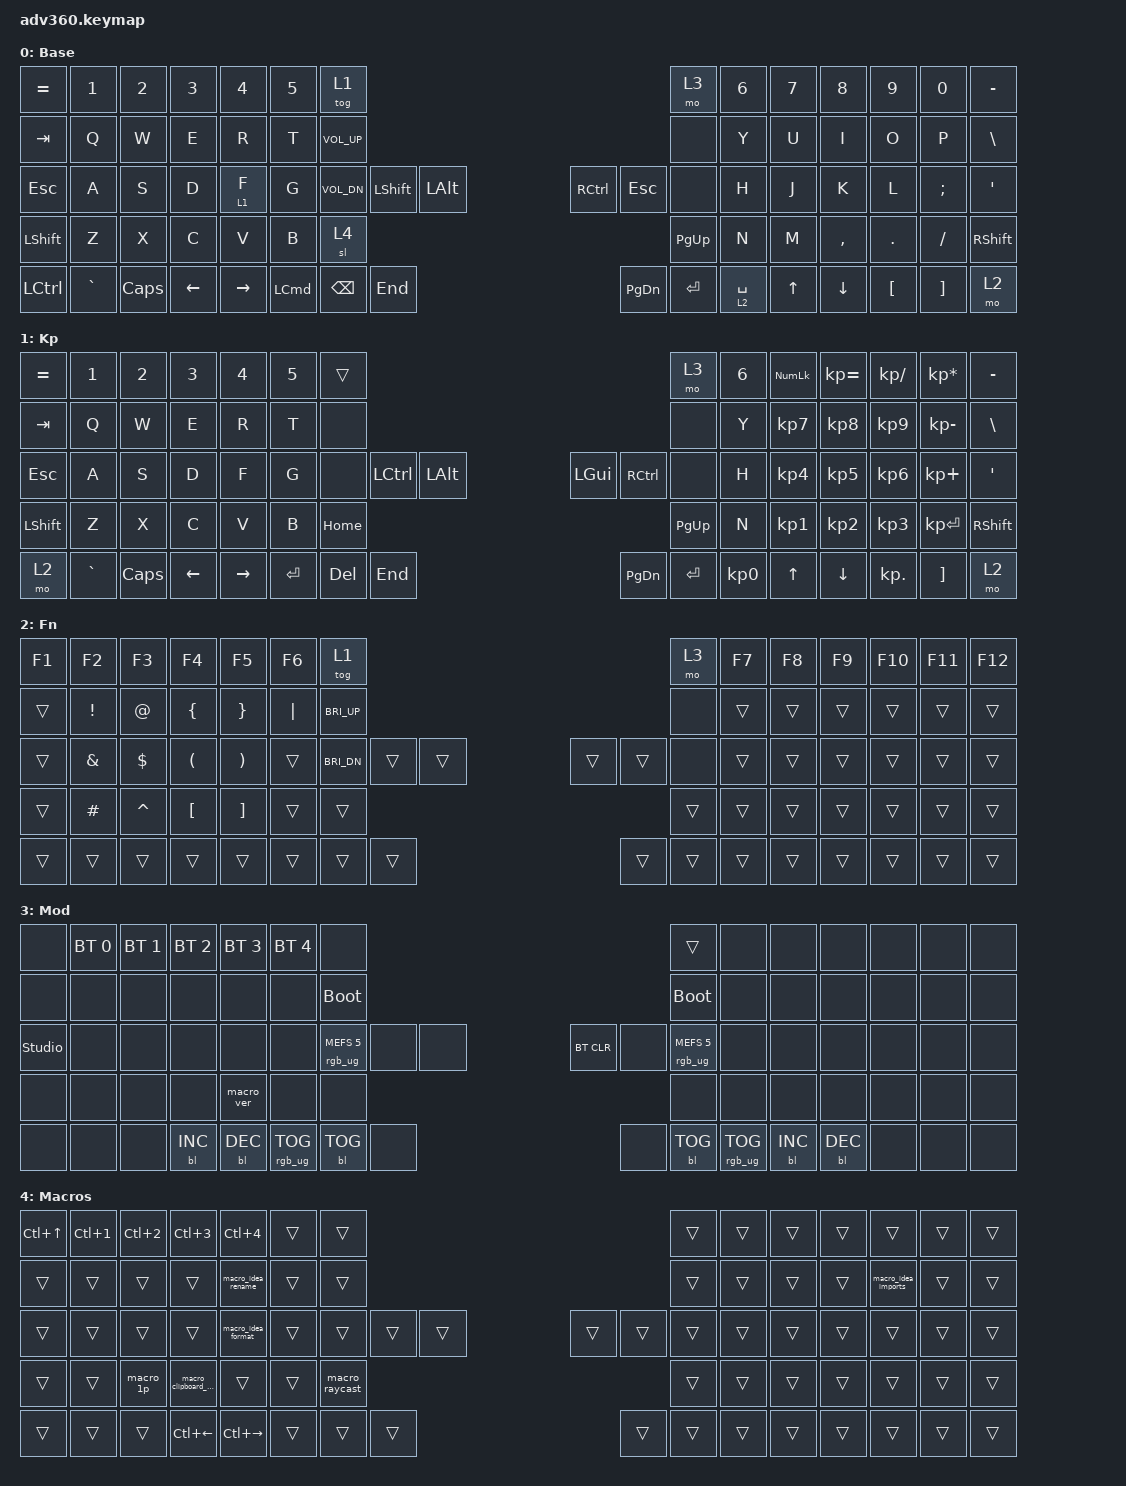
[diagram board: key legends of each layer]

/*
 * Copyright (c) 2020 The ZMK Contributors
 *
 * SPDX-License-Identifier: MIT
 */


/* THIS FILE WAS GENERATED!
 *
 * This file was generated automatically. You may or may not want to
 * edit it directly.
 */

#include <behaviors.dtsi>
#include <dt-bindings/zmk/keys.h>
#include <dt-bindings/zmk/bt.h>
#include <dt-bindings/zmk/rgb.h>
#include <dt-bindings/zmk/stp.h>
#include <dt-bindings/zmk/backlight.h>
#include <dt-bindings/zmk/pointing.h>

/ {
  behaviors {
    #include "macros.dtsi"
    #include "version.dtsi"

    hm: homerow_mods {
        compatible = "zmk,behavior-hold-tap";
        label = "HOMEROW_MODS";
        #binding-cells = <2>;
        tapping-term-ms = <200>;
        quick_tap_ms = <175>;
        flavor = "tap-preferred";
        bindings = <&kp>, <&kp>;
    };
  };

    keymap {
        compatible = "zmk,keymap";


        default_layer {
              display-name = "Base";
          bindings = <
 &kp EQUAL     &kp N1    &kp N2    &kp N3     &kp N4  &kp N5                  &tog 1                                                                               &mo 3  &kp N6  &kp N7     &kp N8    &kp N9    &kp N0  &kp MINUS
   &kp TAB      &kp Q     &kp W     &kp E      &kp R   &kp T            &kp C_VOL_UP                                                                               &none   &kp Y   &kp U      &kp I     &kp O     &kp P   &kp BSLH
   &kp ESC      &kp A     &kp S     &kp D    &lt 1 F   &kp G            &kp C_VOL_DN       &kp LSHFT &kp LALT                  &kp RCTRL  &kp ESC                  &none   &kp H   &kp J      &kp K     &kp L  &kp SEMI    &kp SQT
 &kp LSHFT      &kp Z     &kp X     &kp C      &kp V   &kp B                                            &sl 4                  &kp PG_UP                                   &kp N   &kp M  &kp COMMA   &kp DOT  &kp FSLH  &kp RSHFT
 &kp LCTRL  &kp GRAVE  &kp CAPS  &kp LEFT  &kp RIGHT                        &kp LCMD  &kp BACKSPACE   &kp END                  &kp PG_DN          &kp ENTER  &lt 2 SPACE          &kp UP   &kp DOWN  &kp LBKT  &kp RBKT      &mo 2
            >;
        };

        keypad {
              display-name = "Kp";
            bindings = <
 &kp EQUAL     &kp N1    &kp N2    &kp N3     &kp N4  &kp N5               &trans                                                                 &mo 3  &kp N6  &kp KP_NUM  &kp KP_EQUAL  &kp KP_DIVIDE  &kp KP_MULTIPLY  &kp MINUS
   &kp TAB      &kp Q     &kp W     &kp E      &kp R   &kp T                &none                                                                 &none   &kp Y   &kp KP_N7     &kp KP_N8      &kp KP_N9     &kp KP_MINUS   &kp BSLH
   &kp ESC      &kp A     &kp S     &kp D      &kp F   &kp G                &none  &kp LCTRL  &kp LALT                   &kp LGUI  &kp RCTRL      &none   &kp H   &kp KP_N4     &kp KP_N5      &kp KP_N6      &kp KP_PLUS    &kp SQT
 &kp LSHFT      &kp Z     &kp X     &kp C      &kp V   &kp B                                  &kp HOME                  &kp PG_UP                         &kp N   &kp KP_N1     &kp KP_N2      &kp KP_N3     &kp KP_ENTER  &kp RSHFT
     &mo 2  &kp GRAVE  &kp CAPS  &kp LEFT  &kp RIGHT                    &kp ENTER    &kp DEL   &kp END                  &kp PG_DN  &kp ENTER  &kp KP_N0              &kp UP      &kp DOWN     &kp KP_DOT         &kp RBKT      &mo 2
            >;
        };

        fn {
              display-name = "Fn";
            bindings = <
 &kp F1    &kp F2     &kp F3                &kp F4                 &kp F5    &kp F6                  &tog 1                                                   &mo 3  &kp F7  &kp F8  &kp F9  &kp F10  &kp F11  &kp F12
 &trans  &kp EXCL     &kp AT        &kp LEFT_BRACE        &kp RIGHT_BRACE  &kp PIPE            &kp C_BRI_UP                                                   &none  &trans  &trans  &trans   &trans   &trans   &trans
 &trans  &kp AMPS   &kp DLLR  &kp LEFT_PARENTHESIS  &kp RIGHT_PARENTHESIS    &trans            &kp C_BRI_DN  &trans  &trans                  &trans  &trans   &none  &trans  &trans  &trans   &trans   &trans   &trans
 &trans  &kp HASH  &kp CARET      &kp LEFT_BRACKET      &kp RIGHT_BRACKET    &trans                                  &trans                  &trans                  &trans  &trans  &trans   &trans   &trans   &trans
 &trans    &trans     &trans                &trans                 &trans                            &trans  &trans  &trans                  &trans  &trans  &trans          &trans  &trans   &trans   &trans   &trans
            >;
        };

        mod {
              display-name = "Mod";
            bindings = <
  &none  &bt BT_SEL 0  &bt BT_SEL 1  &bt BT_SEL 2  &bt BT_SEL 3  &bt BT_SEL 4                             &none                                                                              &trans   &none       &none       &none   &none   &none   &none
  &none         &none         &none         &none         &none         &none                       &bootloader                                                                         &bootloader   &none       &none       &none   &none   &none   &none
  &studio_unlock         &none         &none         &none         &none         &none            &rgb_ug RGB_MEFS_CMD 5       &none   &none                  &bt BT_CLR       &none  &rgb_ug RGB_MEFS_CMD 5   &none       &none       &none   &none   &none   &none
  &none         &none         &none         &none    &macro_ver         &none                                                 &none                       &none                                       &none       &none       &none   &none   &none   &none
  &none         &none         &none    &bl BL_INC    &bl BL_DEC                                 &rgb_ug RGB_TOG  &bl BL_TOG   &none                       &none  &bl BL_TOG         &rgb_ug RGB_TOG          &bl BL_INC  &bl BL_DEC   &none   &none   &none
            >;
        };

        macros {
            display-name = "Macros";
            bindings = <
 &kp LC(UP_ARROW)  &kp LC(N1)  &kp LC(N2)            &kp LC(N3)           &kp LC(N4)  &trans            &trans                                                          &trans  &trans  &trans  &trans               &trans  &trans  &trans
           &trans      &trans      &trans                &trans   &macro_idea_rename  &trans            &trans                                                          &trans  &trans  &trans  &trans  &macro_idea_imports  &trans  &trans
           &trans      &trans      &trans                &trans   &macro_idea_format  &trans            &trans  &trans          &trans                  &trans  &trans  &trans  &trans  &trans  &trans               &trans  &trans  &trans
           &trans      &trans   &macro_1p  &macro_clipboard_his               &trans  &trans                            &macro_raycast                  &trans                  &trans  &trans  &trans               &trans  &trans  &trans
           &trans      &trans      &trans    &kp LC(LEFT_ARROW)  &kp LC(RIGHT_ARROW)                    &trans  &trans          &trans                  &trans  &trans  &trans          &trans  &trans               &trans  &trans  &trans
            >;
        };

        extra1 {
          display-name = "Red";
          status = "reserved";
        };

        extra2 {
          display-name = "Purple";
          status = "reserved";
        };

        extra3 {
          display-name = "Cyan";
          status = "reserved";
        };

        extra4 {
          display-name = "Yellow";
          status = "reserved";
        };

    };
};
